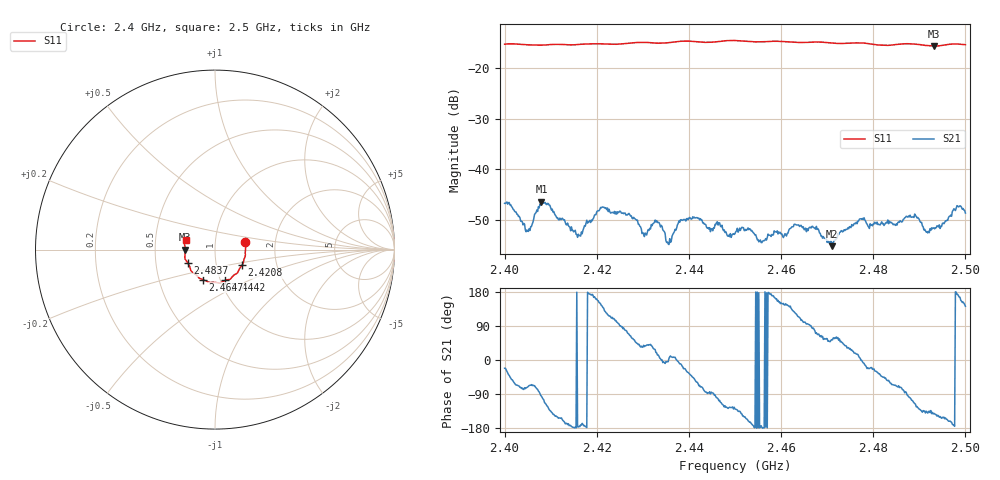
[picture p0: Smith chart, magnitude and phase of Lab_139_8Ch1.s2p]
# Hz S RI R 50
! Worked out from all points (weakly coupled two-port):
!   601 points, 2.4 GHz to 2.5 GHz, reference 50 ohm
!   highest |S21| = -46.48 dB at 2.408 GHz (marker M1); lowest = -55.3 dB at 2.471 GHz (marker M2)
!   lowest |S11| = -15.6 dB at 2.4932 GHz (marker M3), VSWR 1.40, Z = 35.8 - j0.0732 ohm
!   |S11| at or under -10 dB: start of sweep to end of sweep
!   S12 and S22 are empty: the file has one direction only
!   S11 on the Smith chart (normalised r, x): 2.4 GHz: 1.40, +0.12; 2.4208 GHz: 1.33, -0.24; 2.4442 GHz: 1.05, -0.37; 2.4647 GHz: 0.83, -0.29; 2.4837 GHz: 0.73, -0.11; 2.5 GHz: 0.72, +0.08
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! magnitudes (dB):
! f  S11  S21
! 2.4 GHz  -15.2  -46.8
! 2.405 GHz  -15.4  -52.3
! 2.408 GHz  -15.4  -46.5
! 2.4167 GHz  -15.3  -52.5
! 2.4208 GHz  -15.2  -47.6
! 2.427 GHz  -15.0  -48.8
! 2.4303 GHz  -14.9  -53.4
! 2.4333 GHz  -15.0  -50.6
! 2.4357 GHz  -14.9  -55.0
! 2.4387 GHz  -14.6  -50.1
! 2.4442 GHz  -14.9  -51.6
! 2.45 GHz  -14.5  -52.8
! 2.4557 GHz  -14.8  -54.6
! 2.4647 GHz  -14.9  -51.6
! 2.4667 GHz  -14.8  -51.4
! 2.471 GHz  -15.0  -55.3
! 2.4775 GHz  -15.0  -50.0
! 2.4833 GHz  -15.5  -50.8
! 2.4837 GHz  -15.4  -50.6
! 2.4892 GHz  -15.2  -49.2
! 2.4932 GHz  -15.6  -51.7
! 2.5 GHz  -15.3  -48.7
